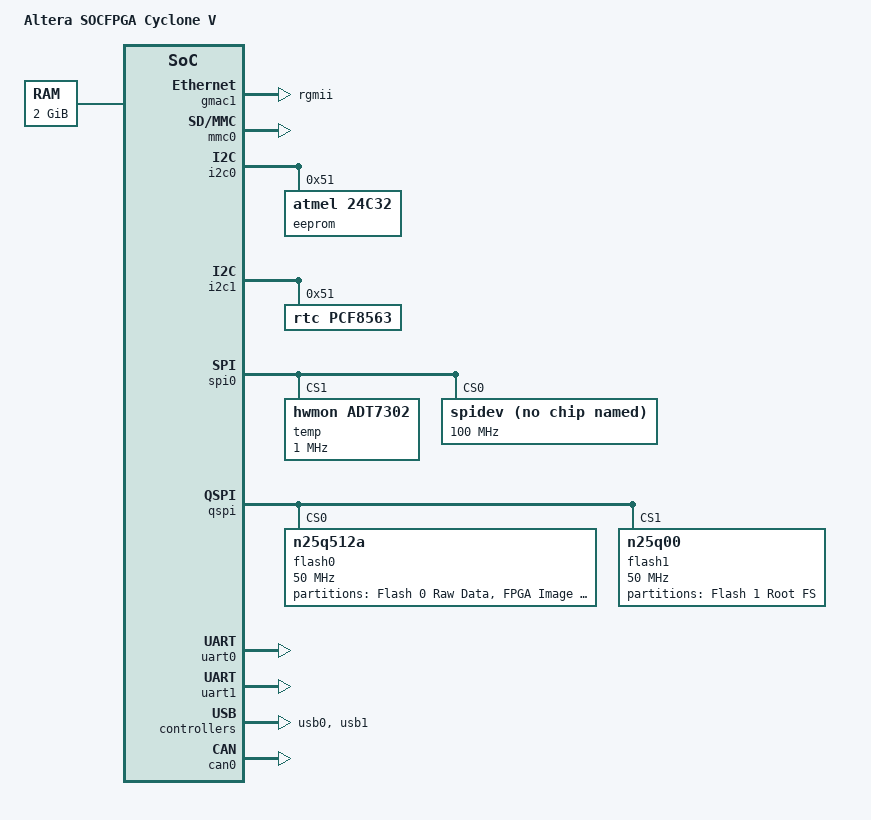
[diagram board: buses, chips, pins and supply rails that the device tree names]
/*
 * Richmond device tree for use by u-boot
 */
#include "socfpga_cyclone5.dtsi"

/ {
	model = "Altera SOCFPGA Cyclone V";
	compatible = "altr,socfpga-cyclone5", "altr,socfpga";

	chosen {
		bootargs = "earlyprintk";
		stdout-path = "serial0:115200n8";
	};

	memory {
		name = "memory";
		device_type = "memory";
		reg = <0x0 0x80000000>;
	};

	aliases {
		ethernet0 = &gmac1;
	};

    soc {
        u-boot,dm-pre-reloc;
    };
};

&gmac1 {
	status = "okay";
	phy-mode = "rgmii";
	snps,phy-addr = < 0xFFFFFFFF >;
	phy-addr = < 0xFFFFFFFF >;
	rxd0-skew-ps = <0>;
	rxd1-skew-ps = <0>;
	rxd2-skew-ps = <0>;
	rxd3-skew-ps = <0>;
	txen-skew-ps = <0>;
	txc-skew-ps = <3000>;
	rxdv-skew-ps = <0>;
	rxc-skew-ps = <3000>;
	max-frame-size = <3800>;
    tx-fifo-depth = <4096>; /* embeddedsw.dts.params.tx-fifo-depth type NUMBER */
    rx-fifo-depth = <4096>; /* embeddedsw.dts.params.rx-fifo-depth type NUMBER */
};

&mmc0 {
	status = "okay";
};

&i2c0 {
	status = "okay";
	speed-mode = <0>;

	eeprom@51 {
		compatible = "atmel,24c32";
		reg = <0x51>;
		pagesize = <32>;
   };
};

&i2c1 {
	status = "okay";
	speed-mode = <0>;

	rtc@51 {
		compatible = "rtc,pcf8563";
		reg = <0x51>;
   };
};

&spi0 {
		#address-cells = < 1 >;  
		#size-cells = < 0 >;  
		bus-num = < 0 >;   
		num-chipselect = < 4 >;  
		status = "okay";   

		temp@1 {
				compatible = "hwmon,adt7302";
				reg = < 1 >;  
				spi-max-frequency = <1000000>;
                spi-cpha = < 1 >;
                spi-cpol = < 1 >;
				enable-dma = < 1 >; 
		};

		spidev@0 {
				compatible = "spidev";
				reg = < 0 >;
				spi-max-frequency = < 100000000 >;
				enable-dma = < 1 >;
		};
};

&qspi {
    compatible = "cadence,qspi";
    u-boot,dm-pre-reloc;
	status = "okay";
	flash0: n25q512a@0 {
        u-boot,dm-pre-reloc;
		#address-cells = <1>;
		#size-cells = <1>;
		compatible = "n25q512a", "spi-flash";
		reg = <0>;      /* chip select */
		spi-max-frequency = <50000000>;

		cdns,page-size = <256>;
		cdns,block-size = <16>;
		cdns,read-delay = <4>;
		cdns,tshsl-ns = <50>;
		cdns,tsd2d-ns = <50>;
		cdns,tchsh-ns = <4>;
		cdns,tslch-ns = <4>;
        cdns,is-decoded-cs = <0>;
        cdns,trigger-address = <0x00000000>;
        /* u-boot version of cadence_qspi currently doesn't expect the "cdns," prefix */
        page-size = <256>;
        block-size = <16>;
        read-delay = <4>;
        tshsl-ns = <50>;
        tsd2d-ns = <50>;
        tchsh-ns = <4>;
        tslch-ns = <4>;
        is-decoded-cs = <0>;


		part0: partition@0 {
					label = "Flash 0 Raw Data";	/* appended from boardinfo */
					reg = < 0x00000000 0x00800000 >;	/* appended from boardinfo */
		}; //end partition@0 (part0)

		part1: partition@800000 {
					label = "FPGA Image";	/* appended from boardinfo */
					reg = < 0x00800000 0x0600000 >;	/* appended from boardinfo */
		}; //end partition@800000 (part1)

		part2: partition@3800000 {
					label = "Splash Screen Image";	/* appended from boardinfo */
					reg = < 0x0e00000 0x00200000 >;	/* appended from boardinfo */
		}; //end partition@3800000 (part2)

		part3: partition@3e00000 {
					label = "Flash 0 FS partition";	/* appended from boardinfo */
					reg = < 0x01000000 0x03000000 >;	/* appended from boardinfo */
		}; //end partition@3e00000 (part3)
	};

	flash1: n25q00@1 {
		#address-cells = <1>;
		#size-cells = <1>;
		compatible = "n25q00", "spi-flash";
		reg = <1>;      /* chip select */
		spi-max-frequency = <50000000>;

		cdns,page-size = <256>;
		cdns,block-size = <16>;
		cdns,read-delay = <4>;
		cdns,tshsl-ns = <50>;
		cdns,tsd2d-ns = <50>;
		cdns,tchsh-ns = <4>;
		cdns,tslch-ns = <4>;

		part4: partition@0 {
					label = "Flash 1 Root FS";	/* appended from boardinfo */
					reg = < 0x00000000 0x08000000 >;	/* appended from boardinfo */
		}; //end partition@0 (part4)
	}; //end n25q00@1 (flash1)		
};

&uart0 {
    u-boot,dm-pre-reloc;
	status = "okay";
};

&uart1 {
    u-boot,dm-pre-reloc;
	status = "okay";
};

&usb0 {
	status = "okay";
};

&usb1 {
	status = "okay";
};

&gpio0 {
	status = "okay";
};

&gpio1 {
	status = "okay";
};

&gpio2 {
	status = "okay";
};

&can0 {
	status = "okay";
};
